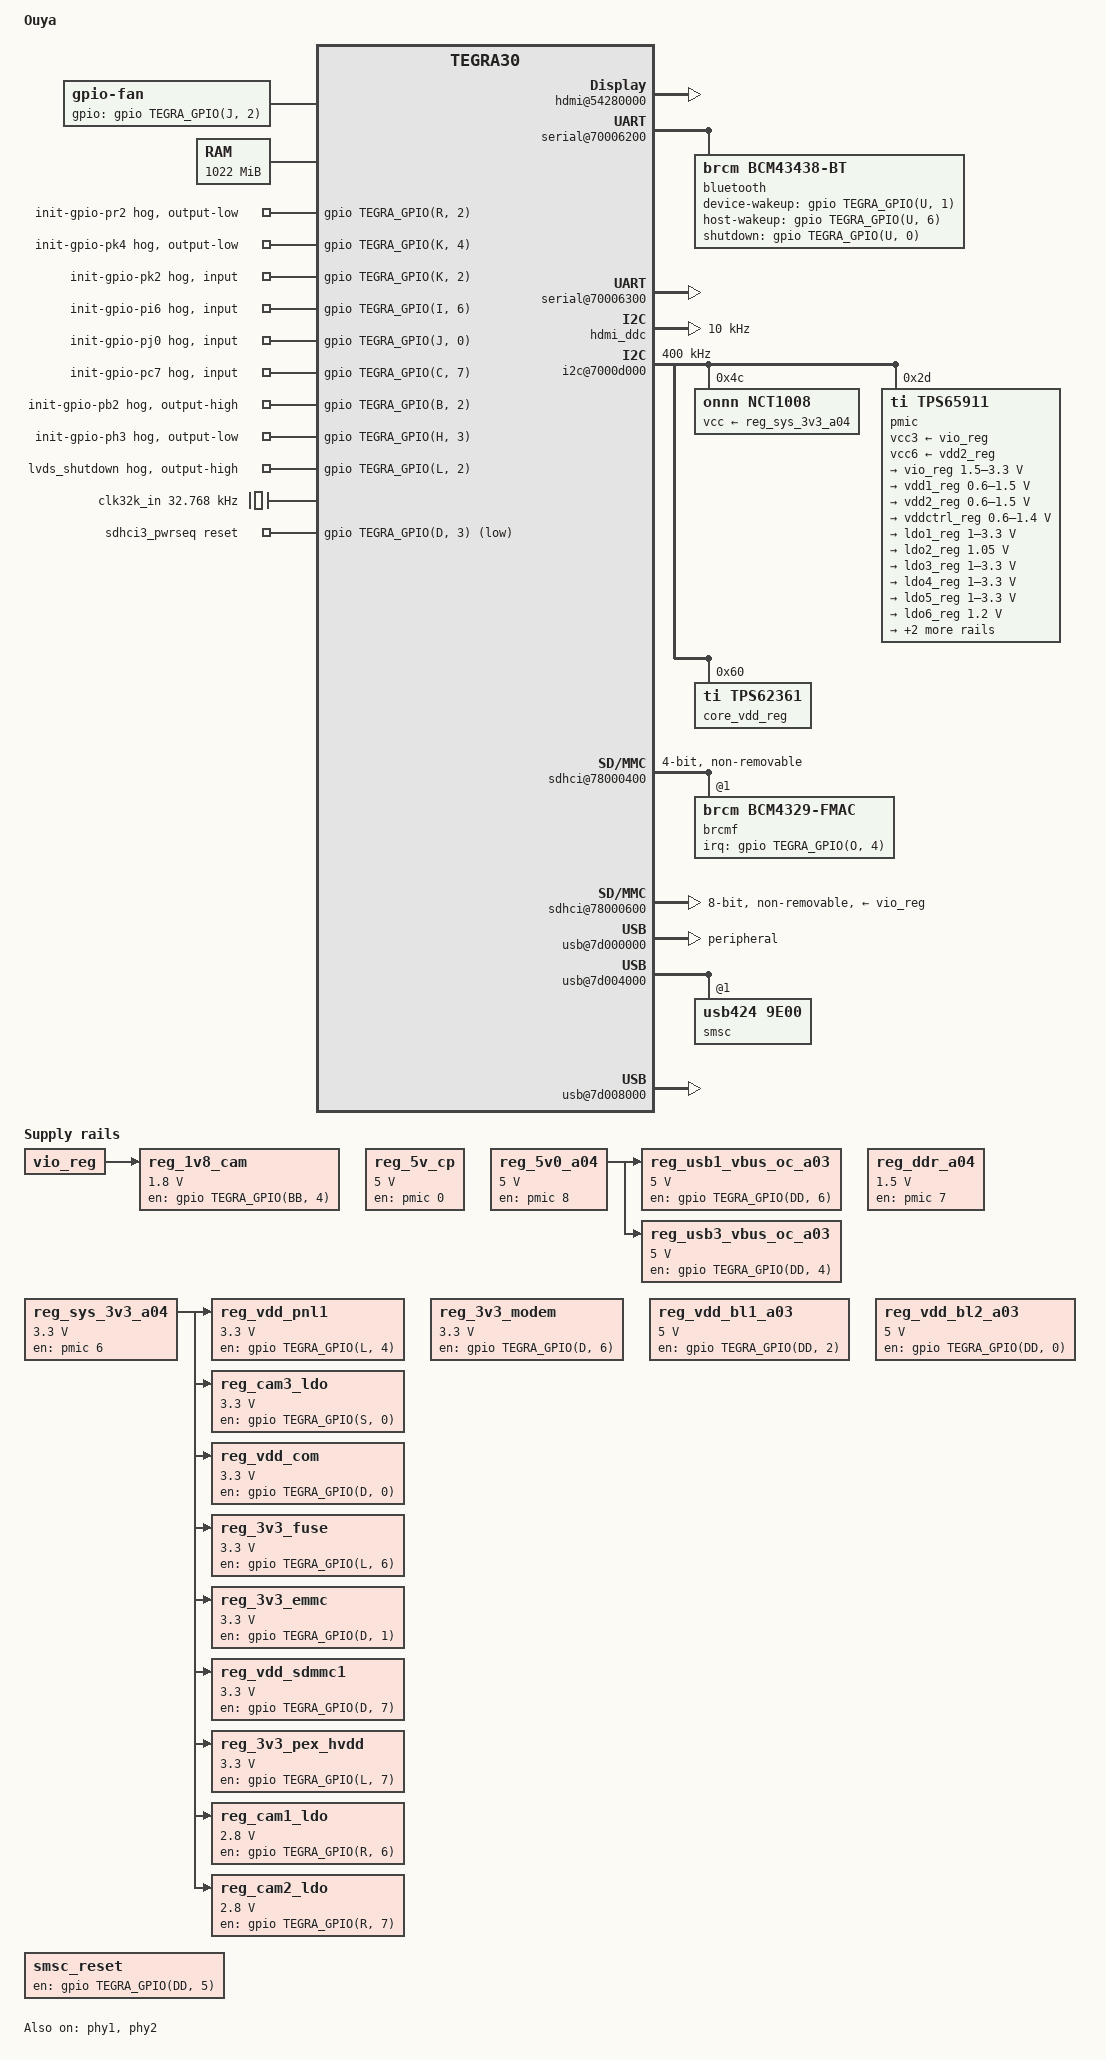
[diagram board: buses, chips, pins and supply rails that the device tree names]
/dts-v1/;

#include <dt-bindings/input/input.h>
#include <dt-bindings/thermal/thermal.h>

#include "tegra30.dtsi"
#include "tegra30-ouya-pinmux.dtsi"

/ {
	model = "Ouya";
	compatible = "nvidia,ouya", "nvidia,tegra30";

	aliases {
		rtc0 = "/i2c@7000d000/tps65911@2d";
		rtc1 = "/rtc@7000e000";
		serial0 = &uartd;
		serial1 = &uartc;
	};

	chosen {
		stdout-path = "serial0:115200n8";
		bootargs = "earlyprintk panic=3 ignore_loglevel";
	};

	cpus {
		#address-cells = <1>;
		#size-cells = <0>;

		cpu0: cpu@0 {
			#cooling-cells = <2>;

			cpu-supply = <&vddctrl_reg>;
			core-supply = <&core_vdd_reg>;
		};
	};

	fan: gpio_fan {
		compatible = "gpio-fan";
		gpios = <&gpio TEGRA_GPIO(J, 2) GPIO_ACTIVE_HIGH>;
		gpio-fan,speed-map = <0 0
			                  4500 1>;
		#cooling-cells = <2>;
	};

	thermal-zones {
		cpu_thermal: cpu-thermal {
			polling-delay = <1000>;
			polling-delay-passive = <250>;

			thermal-sensors = <&nct1008 1>;

			trips {
				cpu_alert0: cpu-alert0 {
					temperature = <60000>;
					hysteresis = <10000>;
					type = "active";
				};
				cpu_crit: cpu-crit {
					temperature = <90000>;
					hysteresis = <2000>;
					type = "critical";
				};
			};

			cooling-maps {
				map0 {
					trip = <&cpu_alert0>;
					cooling-device = <&fan 1 THERMAL_NO_LIMIT>;
				};
			};
		};
	};

	memory@80000000 {
		reg = <0x80000000 0x3fe00000>;
	};

	reserved-memory {
		#address-cells = <1>;
		#size-cells = <1>;
		ranges;

		android_logger: ram-console@BEA00000 {
			reg = <0xBEA00000 0x00100000>;
			no-map;
		};
	};

	ram_console {
		compatible = "android,ram-console";
		status = "ok";
		android,ram-buffer-start = <0xBEA00000>;
		android,ram-buffer-size = <0x00100000>;
	};

	firmware {
		trusted-foundations {
			compatible = "tlm,trusted-foundations";
			tlm,version-major = <0x2>;
			tlm,version-minor = <0x8>;
		};
	};

	host1x@50000000 {
		hdmi@54280000 {
			status = "okay";
			nvidia,hpd-gpio = <&gpio TEGRA_GPIO(N, 7) GPIO_ACTIVE_HIGH>;
			/* nvidia,ddc-i2c-bus = <&hdmi_ddc>; */

			/* 1280x720 */
			nvidia,edid = [ 00ffffff ffffff00 31d80000 00000000 05160103
							6d211278 ea5ec0a4 594a9825 20505400 000081c0
							01010101 01010101 01010101 01011a1d 008051d0
							1c204080 35004dbb 1000001e 000000ff 004c696e
							75782023 300a2020 20200000 00fd003b 3d2b2d08
							000a2020 20202020 000000fc 00313238 30783732
							300a2020 2020005b ];
		};
	};

	gpio: gpio@6000d000 {
		/* regulator initialization handles these */
		/*
		init-gpio-pdd6 {
			gpio-hog;
			gpios = <TEGRA_GPIO(DD, 6) GPIO_ACTIVE_HIGH>;
			output-low;
		};
		init-gpio-pdd4 {
			gpio-hog;
			gpios = <TEGRA_GPIO(DD, 4) GPIO_ACTIVE_HIGH>;
			output-low;
		};
		*/
		init-gpio-pr2 {
			gpio-hog;
			gpios = <TEGRA_GPIO(R, 2) GPIO_ACTIVE_HIGH>;
			output-low;
		};

		init-gpio-pk4 {
			gpio-hog;
			gpios = <TEGRA_GPIO(K, 4) GPIO_ACTIVE_HIGH>;
			output-low;
		};
		init-gpio-pk2 {
			gpio-hog;
			gpios = <TEGRA_GPIO(K, 2) GPIO_ACTIVE_HIGH>;
			input;
		};
		init-gpio-pi6 {
			gpio-hog;
			gpios = <TEGRA_GPIO(I, 6) GPIO_ACTIVE_HIGH>;
			input;
		};
		init-gpio-pj0 {
			gpio-hog;
			gpios = <TEGRA_GPIO(J, 0) GPIO_ACTIVE_HIGH>;
			input;
		};
		init-gpio-pc7 {
			gpio-hog;
			gpios = <TEGRA_GPIO(C, 7) GPIO_ACTIVE_HIGH>;
			input;
		};
		init-gpio-pb2 {
			gpio-hog;
			gpios = <TEGRA_GPIO(B, 2) GPIO_ACTIVE_HIGH>;
			output-high;
		};
		init-gpio-ph3 {
			gpio-hog;
			gpios = <TEGRA_GPIO(H, 3) GPIO_ACTIVE_HIGH>;
			output-low;
		};

		init-gpio-pl2 {
			gpio-hog;
			gpios = <TEGRA_GPIO(L, 2) GPIO_ACTIVE_HIGH>;
			output-high;
			line-name = "lvds_shutdown";
		};
	};

	pinmux@70000868 {
		state_default: pinmux {
			/* smsc9500 reset */
			pex_l1_rst_n_pdd5 {
				nvidia,pins = "pex_l1_rst_n_pdd5";
				nvidia,function = "pcie";
				nvidia,pull = <TEGRA_PIN_PULL_DOWN>;
				nvidia,tristate = <TEGRA_PIN_DISABLE>;
				nvidia,enable-input = <TEGRA_PIN_DISABLE>;
			};
		};
	};

	serial@70006200 {
		status = "okay";
		compatible = "nvidia,tegra30-hsuart";
		
		bluetooth {
			compatible = "brcm,bcm43438-bt";

			device-wakeup-gpios = <&gpio TEGRA_GPIO(U, 1) GPIO_ACTIVE_HIGH>;
			host-wakeup-gpios = <&gpio TEGRA_GPIO(U, 6) GPIO_ACTIVE_HIGH>;

			shutdown-gpios = <&gpio TEGRA_GPIO(U, 0) GPIO_ACTIVE_HIGH>;

			clocks = <&tegra_car TEGRA30_CLK_UARTC>;
			clock-names = "uartc";

			assigned-clocks = <&tegra_car TEGRA30_CLK_UARTC>;
			assigned-clock-rates = <154838>;
			assigned-clock-parents =<&tegra_car TEGRA30_CLK_CLK_M>;

			max-speed = <154838>;
		};
	};

	serial@70006300 {
		status = "okay";
	};

	hdmi_ddc: i2c@7000c700 {
		status = "okay";
		clock-frequency = <10000>;

		assigned-clocks = <&tegra_car TEGRA30_CLK_I2C4>;
		assigned-clock-rates = <3200000>;
		assigned-clock-parents =<&tegra_car TEGRA30_CLK_PLL_P>;
	};

	i2c@7000d000 {
		status = "okay";
		multi-master;
		clock-frequency = <400000>;

		nct1008: temperature-sensor@4c {
			compatible = "onnn,nct1008";
			reg = <0x4c>;
			vcc-supply = <&reg_sys_3v3_a04>;

			/*
			 * Alert interrupt is broken.
			 * The IRQ remains triggered permanently.
			 */
			/*
			interrupt-parent = <&gpio>;
			interrupts = <TEGRA_GPIO(CC, 2) IRQ_TYPE_LEVEL_LOW>;
			*/

			#thermal-sensor-cells = <1>;
		};

		pmic: tps65911@2d {
			compatible = "ti,tps65911";
			reg = <0x2d>;

			interrupts = <GIC_SPI 86 IRQ_TYPE_LEVEL_HIGH>;
			#interrupt-cells = <2>;
			interrupt-controller;

			#gpio-cells = <2>;
			gpio-controller;

			ti,sleep-enable;
			ti,sleep-keep-ck32k;
			ti,en-gpio-sleep = <0 0 1 0 0 0 0 0 0>;

			ti,system-power-controller;

			/*
			vcc1-supply = <&reg_sys_3v3_a04>;		// vdd1
			vcc2-supply = <&reg_sys_3v3_a04>;		// vdd2
			*/

			vcc3-supply = <&vio_reg>;				// ldo6, ldo7, ldo8

			/*
			vcc4-supply = <&reg_sys_3v3_a04>;		// ldo5
			vcc5-supply = <&reg_sys_3v3_a04>;		// ldo3, ldo4
			*/

			vcc6-supply = <&vdd2_reg>;				// ldo1, ldo2

			/*
			vcc7-supply = <&reg_sys_3v3_a04>;		// vrtc
			vccio-supply = <&reg_sys_3v3_a04>;		// vio
			*/

			regulators {
				vio_reg: vio {
					regulator-name = "vio";
					regulator-min-microvolt = <1500000>;
					regulator-max-microvolt = <3300000>;
					regulator-always-on;
					regulator-boot-on;
				};

				vdd1_reg: vdd1 {
					regulator-name = "vdd1";
					regulator-min-microvolt = <600000>;
					regulator-max-microvolt = <1500000>;
					regulator-always-on;
					regulator-boot-on;
					ti,regulator-ext-sleep-control = <0>;
				};

				vdd2_reg: vdd2 {
					regulator-name = "vdd2";
					regulator-min-microvolt = <600000>;
					regulator-max-microvolt = <1500000>;
					/* regulator-always-on; */
					regulator-boot-on;
				};

				vddctrl_reg: vddctrl {
					regulator-name = "vddctrl";
					regulator-min-microvolt = <600000>;
					regulator-max-microvolt = <1400000>;
					regulator-coupled-with = <&core_vdd_reg>;
					regulator-coupled-max-spread = <300000>;
					regulator-max-step-microvolt = <100000>;
					regulator-always-on;
					regulator-boot-on;
					ti,regulator-ext-sleep-control = <1>;
				};

				ldo1_reg: ldo1 {
					regulator-name = "ldo1";
					regulator-min-microvolt = <1000000>;
					regulator-max-microvolt = <3300000>;
				};

				ldo2_reg: ldo2 {
					regulator-name = "ldo2";
					regulator-min-microvolt = <1050000>;
					regulator-max-microvolt = <1050000>;
				};

				ldo3_reg: ldo3 {
					regulator-name = "ldo3";
					regulator-min-microvolt = <1000000>;
					regulator-max-microvolt = <3300000>;
				};

				ldo4_reg: ldo4 {
					regulator-name = "ldo4";
					regulator-min-microvolt = <1000000>;
					regulator-max-microvolt = <3300000>;
					regulator-boot-on;
				};

				ldo5_reg: ldo5 {
					regulator-name = "ldo5";
					regulator-min-microvolt = <1000000>;
					regulator-max-microvolt = <3300000>;
				};

				ldo6_reg: ldo6 {
					regulator-name = "ldo6";
					regulator-min-microvolt = <1200000>;
					regulator-max-microvolt = <1200000>;
				};

				ldo7_reg: ldo7 {
					regulator-name = "ldo7";
					regulator-min-microvolt = <1200000>;
					regulator-max-microvolt = <1200000>;
					regulator-always-on;
					regulator-boot-on;
					ti,regulator-ext-sleep-control = <0>;

					/* unimplemented downstream flag */
					/* LDO_LOW_POWER_ON_SUSPEND */
				};

				ldo8_reg: ldo8 {
					regulator-name = "ldo8";
					regulator-min-microvolt = <1000000>;
					regulator-max-microvolt = <3300000>;
					regulator-always-on;
					ti,regulator-ext-sleep-control = <0>;

					/* unimplemented downstream flag */
					/* LDO_LOW_POWER_ON_SUSPEND */
				};
			};
		};

		core_vdd_reg: tps62361@60 {
			compatible = "ti,tps62361";
			reg = <0x60>;

			regulator-name = "tps62361-vout";
			regulator-min-microvolt = <500000>;
			regulator-max-microvolt = <1770000>;
			regulator-coupled-with = <&vddctrl_reg>;
			regulator-coupled-max-spread = <300000>;
			regulator-max-step-microvolt = <100000>;
			regulator-boot-on;
			regulator-always-on;
			ti,vsel0-state-high;
			ti,vsel1-state-high;
		};
	};

	pmc@7000e400 {
		status = "okay";
		nvidia,invert-interrupt;
		nvidia,suspend-mode = <1>;
		nvidia,cpu-pwr-good-time = <2000>;
		nvidia,cpu-pwr-off-time = <200>;
		nvidia,core-power-req-active-high;
		nvidia,sys-clock-req-active-high;
		nvidia,lp0-vec = <0xbddf9000 8192>;

		/* Set DEV_OFF bit in DCDC control register of TPS65911 PMIC */
		i2c-thermtrip {
			nvidia,i2c-controller-id = <4>;
			nvidia,bus-addr = <0x2d>;
			nvidia,reg-addr = <0x3f>;
			nvidia,reg-data = <0x1>;
		};
	};

	sdhci@78000400 {
		status = "okay";
		power-gpios = <&gpio TEGRA_GPIO(D, 4) GPIO_ACTIVE_HIGH>;
		bus-width = <4>;
		max-frequency = <52000000>;
		cap-sdio-irq;
		non-removable;

		mmc-pwrseq = <&sdhci3_pwrseq>;
		
		brcmf: wifi@1 {
			compatible = "brcm,bcm4329-fmac";
			interrupt-parent = <&gpio>;
			interrupts = <TEGRA_GPIO(O, 4) IRQ_TYPE_LEVEL_HIGH>;
			interrupt-names = "host-wake";
		};
	};

	sdhci@78000600 {
		status = "okay";
		bus-width = <8>;
		max-frequency = <52000000>;

		keep-power-in-suspend;
		/* mmc-ddr-1_8v; */
		mmc-hs200-1_8v;
		non-removable;

		vmmc-supply = <&vio_reg>;

		/* init errors when this is used */
		/*
		vmmc-supply = <&reg_3v3_emmc>;
		vqmmc-supply = <&vio_reg>;
		*/
	};

	usb@7d000000 {
		compatible = "nvidia,tegra20-udc";
		status = "okay";
		dr_mode = "peripheral";
	};

	phy1: usb-phy@7d000000 {
		compatible = "nvidia,tegra30-usb-phy";
		status = "okay";
		nvidia,hssync-start-delay = <0>;
		nvidia,xcvr-lsfslew = <2>;
		nvidia,xcvr-lsrslew = <2>;
	};

	usb@7d004000 {
		compatible = "nvidia,tegra30-ehci", "usb-ehci";
		status = "okay";

		smsc@1 {
			compatible = "usb424,9e00";
		};
	};

	phy2: usb-phy@7d004000 {
		compatible = "nvidia,tegra30-usb-phy";
		status = "okay";

		nvidia,hssync-start-delay = <0>;
		nvidia,idle-wait-delay = <17>;
		nvidia,elastic-limit = <16>;
		nvidia,term-range-adj = <6>;
		nvidia,xcvr-setup = <15>;
		nvidia,xcvr-setup-use-fuses;
		nvidia,xcvr-lsfslew = <2>;
		nvidia,xcvr-lsrslew = <2>;

		/*
		 * smsc9500 needs to be reset on usb init.
		 * Use a dummy regulator to trigger the reset gpio
		 */
		vbus-supply = <&smsc_reset>;
	};

	usb@7d008000 {
		status = "okay";
	};

	phy3: usb-phy@7d008000 {
		vbus-supply = <&reg_usb3_vbus_oc_a03>;
		status = "okay";
		nvidia,xcvr-setup = <8>;
		nvidia,xcvr-hsslew = <8>;
		nvidia,hsdiscon-level = <1>;
	};

	clocks {
		compatible = "simple-bus";
		#address-cells = <1>;
		#size-cells = <0>;

		clk32k_in: clock@0 {
			compatible = "fixed-clock";
			reg = <0>;
			#clock-cells = <0>;
			clock-frequency = <32768>;
		};
	};

	regulators {
		compatible = "simple-bus";
		#address-cells = <1>;
		#size-cells = <0>;

		reg_5v_cp: regulator@0 {
			compatible = "regulator-fixed";
			reg = <0>;
			regulator-name = "5v_cp";
			regulator-min-microvolt = <5000000>;
			regulator-max-microvolt = <5000000>;
			regulator-always-on;
			regulator-boot-on;
			enable-active-high;
			gpio = <&pmic 0 GPIO_ACTIVE_HIGH>;
		};

		reg_5v0_a04: regulator@1 {
			compatible = "regulator-fixed";
			reg = <1>;
			regulator-name = "5v0";
			regulator-min-microvolt = <5000000>;
			regulator-max-microvolt = <5000000>;
			regulator-always-on;
			regulator-boot-on;
			enable-active-high;
			gpio = <&pmic 8 GPIO_ACTIVE_HIGH>;
		};

		reg_ddr_a04: regulator@2 {
			compatible = "regulator-fixed";
			reg = <2>;
			regulator-name = "ddr";
			regulator-min-microvolt = <1500000>;
			regulator-max-microvolt = <1500000>;
			regulator-always-on;
			regulator-boot-on;
			enable-active-high;
			gpio = <&pmic 7 GPIO_ACTIVE_HIGH>;
		};

		reg_sys_3v3_a04: regulator@3 {
			compatible = "regulator-fixed";
			reg = <3>;
			regulator-name = "sys_3v3";
			regulator-min-microvolt = <3300000>;
			regulator-max-microvolt = <3300000>;
			regulator-always-on;
			regulator-boot-on;
			enable-active-high;
			gpio = <&pmic 6 GPIO_ACTIVE_HIGH>;
		};

		reg_3v3_modem: regulator@5 {
			compatible = "regulator-fixed";
			reg = <5>;
			regulator-name = "3v3_modem";
			regulator-min-microvolt = <3300000>;
			regulator-max-microvolt = <3300000>;
			regulator-always-on;
			enable-active-high;
			gpio =  <&gpio TEGRA_GPIO(D, 6) GPIO_ACTIVE_HIGH>;
		};

		reg_vdd_pnl1: regulator@6 {
			compatible = "regulator-fixed";
			reg = <6>;
			regulator-name = "vdd_pnl1";
			regulator-min-microvolt = <3300000>;
			regulator-max-microvolt = <3300000>;
			enable-active-high;
			gpio =  <&gpio TEGRA_GPIO(L, 4) GPIO_ACTIVE_HIGH>;
			vin-supply = <&reg_sys_3v3_a04>;
		};

		reg_cam3_ldo: regulator@7 {
			compatible = "regulator-fixed";
			reg = <7>;
			regulator-name = "cam3_ldo";
			regulator-min-microvolt = <3300000>;
			regulator-max-microvolt = <3300000>;
			enable-active-high;
			gpio =  <&gpio TEGRA_GPIO(S, 0) GPIO_ACTIVE_HIGH>;
			vin-supply = <&reg_sys_3v3_a04>;
		};

		reg_vdd_com: regulator@8 {
			compatible = "regulator-fixed";
			reg = <8>;
			regulator-name = "vdd_com";
			regulator-min-microvolt = <3300000>;
			regulator-max-microvolt = <3300000>;
			regulator-always-on;
			enable-active-high;
			gpio =  <&gpio TEGRA_GPIO(D, 0) GPIO_ACTIVE_HIGH>;
			vin-supply = <&reg_sys_3v3_a04>;
		};

		reg_3v3_fuse: regulator@9 {
			compatible = "regulator-fixed";
			reg = <9>;
			regulator-name = "3v3_fuse";
			regulator-min-microvolt = <3300000>;
			regulator-max-microvolt = <3300000>;
			enable-active-high;
			gpio =  <&gpio TEGRA_GPIO(L, 6) GPIO_ACTIVE_HIGH>;
			vin-supply = <&reg_sys_3v3_a04>;
		};

		reg_3v3_emmc: regulator@10 {
			compatible = "regulator-fixed";
			reg = <10>;
			regulator-name = "3v3_emmc";
			regulator-min-microvolt = <3300000>;
			regulator-max-microvolt = <3300000>;
			regulator-always-on;
			enable-active-high;
			gpio =  <&gpio TEGRA_GPIO(D, 1) GPIO_ACTIVE_HIGH>;
			vin-supply = <&reg_sys_3v3_a04>;
		};

		reg_vdd_sdmmc1: regulator@11 {
			compatible = "regulator-fixed";
			reg = <11>;
			regulator-name = "vdd_sdmmc1";
			regulator-min-microvolt = <3300000>;
			regulator-max-microvolt = <3300000>;
			enable-active-high;
			gpio =  <&gpio TEGRA_GPIO(D, 7) GPIO_ACTIVE_HIGH>;
			vin-supply = <&reg_sys_3v3_a04>;
		};

		reg_3v3_pex_hvdd: regulator@12 {
			compatible = "regulator-fixed";
			reg = <12>;
			regulator-name = "3v3_pex_hvdd";
			regulator-min-microvolt = <3300000>;
			regulator-max-microvolt = <3300000>;
			enable-active-high;
			gpio =  <&gpio TEGRA_GPIO(L, 7) GPIO_ACTIVE_HIGH>;
			vin-supply = <&reg_sys_3v3_a04>;
		};

		reg_1v8_cam: regulator@13 {
			compatible = "regulator-fixed";
			reg = <13>;
			regulator-name = "1v8_cam";
			regulator-min-microvolt = <1800000>;
			regulator-max-microvolt = <1800000>;
			enable-active-high;
			gpio =  <&gpio TEGRA_GPIO(BB, 4) GPIO_ACTIVE_HIGH>;
			vin-supply = <&vio_reg>;
		};

		reg_vdd_bl1_a03: regulator@20 {
			compatible = "regulator-fixed";
			reg = <20>;
			regulator-name = "vdd_bl1";
			regulator-min-microvolt = <5000000>;
			regulator-max-microvolt = <5000000>;
			enable-active-high;
			gpio =  <&gpio TEGRA_GPIO(DD, 2) GPIO_ACTIVE_HIGH>;
		};

		reg_vdd_bl2_a03: regulator@21 {
			compatible = "regulator-fixed";
			reg = <21>;
			regulator-name = "vdd_bl2";
			regulator-min-microvolt = <5000000>;
			regulator-max-microvolt = <5000000>;
			enable-active-high;
			gpio =  <&gpio TEGRA_GPIO(DD, 0) GPIO_ACTIVE_HIGH>;
		};

		reg_usb1_vbus_oc_a03: regulator@15 {
			compatible = "regulator-fixed";
			reg = <15>;
			regulator-name = "usb1_vbus_oc_a03";
			regulator-min-microvolt = <5000000>;
			regulator-max-microvolt = <5000000>;
			enable-active-high;
			gpio =  <&gpio TEGRA_GPIO(DD, 6) GPIO_ACTIVE_HIGH>;
			vin-supply = <&reg_5v0_a04>;
		};

		reg_usb3_vbus_oc_a03: regulator@16 {
			compatible = "regulator-fixed";
			reg = <16>;
			regulator-name = "usb3_vbus_oc_a03";
			regulator-min-microvolt = <5000000>;
			regulator-max-microvolt = <5000000>;
			enable-active-high;
			gpio =  <&gpio TEGRA_GPIO(DD, 4) GPIO_ACTIVE_HIGH>;
			vin-supply = <&reg_5v0_a04>;
		};

		reg_cam1_ldo: regulator@18 {
			compatible = "regulator-fixed";
			reg = <18>;
			regulator-name = "cam1_ldo";
			regulator-min-microvolt = <2800000>;
			regulator-max-microvolt = <2800000>;
			enable-active-high;
			gpio =  <&gpio TEGRA_GPIO(R, 6) GPIO_ACTIVE_HIGH>;
			vin-supply = <&reg_sys_3v3_a04>;
		};

		reg_cam2_ldo: regulator@19 {
			compatible = "regulator-fixed";
			reg = <19>;
			regulator-name = "cam2_ldo";
			regulator-min-microvolt = <2800000>;
			regulator-max-microvolt = <2800000>;
			enable-active-high;
			gpio =  <&gpio TEGRA_GPIO(R, 7) GPIO_ACTIVE_HIGH>;
			vin-supply = <&reg_sys_3v3_a04>;
		};
	};

	smsc_reset: regulator {
		compatible = "regulator-fixed";
		regulator-name = "smsc-reset";
		enable-active-high;
		gpio =  <&gpio TEGRA_GPIO(DD, 5) GPIO_ACTIVE_HIGH>;
	};

	gpio-keys {
		power {
			gpios = <&gpio TEGRA_GPIO(V, 0) GPIO_ACTIVE_LOW>;
		};
	};

	sdhci3_pwrseq: sdhci3_pwrseq {
		compatible = "mmc-pwrseq-simple";
		reset-gpios = <&gpio TEGRA_GPIO(D, 3) GPIO_ACTIVE_LOW>;
		post-power-on-delay-ms = <200>;
	};
};
